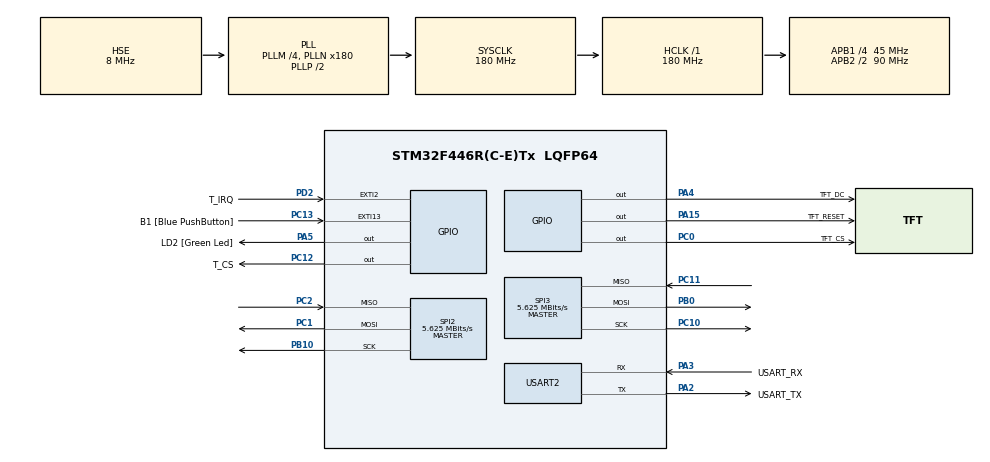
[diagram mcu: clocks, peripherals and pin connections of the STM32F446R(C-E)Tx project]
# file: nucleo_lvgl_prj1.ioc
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Dma.Request0=SPI2_TX
Dma.SPI2_TX.0.Direction=DMA_MEMORY_TO_PERIPH
Dma.SPI2_TX.0.FIFOMode=DMA_FIFOMODE_DISABLE
Dma.SPI2_TX.0.Instance=DMA1_Stream4
Dma.SPI2_TX.0.MemDataAlignment=DMA_MDATAALIGN_BYTE
Dma.SPI2_TX.0.MemInc=DMA_MINC_ENABLE
Dma.SPI2_TX.0.Mode=DMA_NORMAL
Dma.SPI2_TX.0.PeriphDataAlignment=DMA_PDATAALIGN_BYTE
Dma.SPI2_TX.0.PeriphInc=DMA_PINC_DISABLE
Dma.SPI2_TX.0.Priority=DMA_PRIORITY_LOW
FREERTOS.Tasks01=defaultTask,24,128,StartDefaultTask,Default,NULL,Dynamic,NULL,NULL
FREERTOS.configENABLE_FPU=1
FREERTOS.configTOTAL_HEAP_SIZE=32768
Mcu.Family=STM32F4
Mcu.Name=STM32F446R(C-E)Tx
Mcu.Package=LQFP64
NVIC.DMA1_Stream4_IRQn=true\:5\:0\:false\:false\:true\:true\:false\:true\:true
NVIC.EXTI15_10_IRQn=true\:5\:0\:false\:false\:true\:true\:true\:true\:true
NVIC.EXTI2_IRQn=true\:5\:0\:false\:false\:true\:true\:true\:true\:true
NVIC.PriorityGroup=NVIC_PRIORITYGROUP_4
NVIC.SPI2_IRQn=true\:5\:0\:false\:false\:true\:true\:true\:true\:true
NVIC.SPI3_IRQn=true\:5\:0\:false\:false\:true\:true\:true\:true\:true
NVIC.TIM6_DAC_IRQn=true\:15\:0\:false\:false\:true\:false\:false\:true\:true
NVIC.TimeBase=TIM6_DAC_IRQn
NVIC.TimeBaseIP=TIM6
PA13.GPIO_Label=TMS
PA13.Mode=Serial_Wire
PA13.Signal=SYS_JTMS-SWDIO
PA14.GPIO_Label=TCK
PA14.Mode=Serial_Wire
PA14.Signal=SYS_JTCK-SWCLK
PA15.GPIO_Label=TFT_RESET
PA15.Signal=GPIO_Output
PA2.GPIO_Label=USART_TX
PA2.Mode=Asynchronous
PA2.Signal=USART2_TX
PA3.GPIO_Label=USART_RX
PA3.Mode=Asynchronous
PA3.Signal=USART2_RX
PA4.GPIO_Label=TFT_DC
PA4.Signal=GPIO_Output
PA5.GPIO_Label=LD2 [Green Led]
PA5.Signal=GPIO_Output
PB0.Mode=Full_Duplex_Master
PB0.Signal=SPI3_MOSI
PB10.Mode=Full_Duplex_Master
PB10.Signal=SPI2_SCK
PB3.GPIO_Label=SWO
PB3.Signal=SYS_JTDO-SWO
PC0.GPIO_Label=TFT_CS
PC0.GPIO_Speed=GPIO_SPEED_FREQ_HIGH
PC0.Signal=GPIO_Output
PC1.Mode=Full_Duplex_Master
PC1.Signal=SPI2_MOSI
PC10.Mode=Full_Duplex_Master
PC10.Signal=SPI3_SCK
PC11.Mode=Full_Duplex_Master
PC11.Signal=SPI3_MISO
PC12.GPIO_Label=T_CS
PC12.GPIO_Speed=GPIO_SPEED_FREQ_HIGH
PC12.Signal=GPIO_Output
PC13.GPIO_Label=B1 [Blue PushButton]
PC13.GPIO_ModeDefaultEXTI=GPIO_MODE_IT_FALLING
PC13.Signal=GPXTI13
PC14-OSC32_IN.Mode=LSE-External-Oscillator
PC14-OSC32_IN.Signal=RCC_OSC32_IN
PC15-OSC32_OUT.Mode=LSE-External-Oscillator
PC15-OSC32_OUT.Signal=RCC_OSC32_OUT
PC2.Mode=Full_Duplex_Master
PC2.Signal=SPI2_MISO
PD2.GPIO_Label=T_IRQ
PD2.GPIO_ModeDefaultEXTI=GPIO_MODE_IT_FALLING
PD2.GPIO_PuPd=GPIO_PULLUP
PD2.Signal=GPXTI2
PH0-OSC_IN.Mode=HSE-External-Oscillator
PH0-OSC_IN.Signal=RCC_OSC_IN
PH1-OSC_OUT.Mode=HSE-External-Oscillator
PH1-OSC_OUT.Signal=RCC_OSC_OUT
ProjectManager.HeapSize=0x200
ProjectManager.StackSize=0x400
ProjectManager.TargetToolchain=Makefile
RCC.48MHZClocksFreq_Value=84000000
RCC.AHBFreq_Value=180000000
RCC.APB1CLKDivider=RCC_HCLK_DIV4
RCC.APB1Freq_Value=45000000
RCC.APB1TimFreq_Value=90000000
RCC.APB2CLKDivider=RCC_HCLK_DIV2
RCC.APB2Freq_Value=90000000
RCC.APB2TimFreq_Value=180000000
RCC.CortexFreq_Value=180000000
RCC.FLatency-AdvancedSettings=FLASH_LATENCY_5
RCC.HCLKFreq_Value=180000000
RCC.HSE_VALUE=8000000
RCC.HSI_VALUE=16000000
RCC.PLLM=4
RCC.PLLN=180
RCC.PLLSourceVirtual=RCC_PLLSOURCE_HSE
RCC.SYSCLKFreq_VALUE=180000000
RCC.SYSCLKSource=RCC_SYSCLKSOURCE_PLLCLK
RCC.USBFreq_Value=180000000
RCC.VCOOutputFreq_Value=360000000
SPI2.BaudRatePrescaler=SPI_BAUDRATEPRESCALER_8
SPI2.CalculateBaudRate=5.625 MBits/s
SPI2.Direction=SPI_DIRECTION_2LINES
SPI2.Mode=SPI_MODE_MASTER
SPI2.VirtualType=VM_MASTER
SPI3.BaudRatePrescaler=SPI_BAUDRATEPRESCALER_8
SPI3.CalculateBaudRate=5.625 MBits/s
SPI3.Direction=SPI_DIRECTION_2LINES
SPI3.Mode=SPI_MODE_MASTER
SPI3.VirtualType=VM_MASTER
USART2.VirtualMode=VM_ASYNC
VP_FREERTOS_VS_CMSIS_V2.Mode=CMSIS_V2
VP_SYS_VS_tim6.Mode=TIM6
board=NUCLEO-F446RE

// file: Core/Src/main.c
/* USER CODE BEGIN Header */
/**
  ******************************************************************************
  * @file           : main.c
  * @brief          : Main program body
  ******************************************************************************
  * @attention
  *
  * Copyright (c) 2026 STMicroelectronics.
  * All rights reserved.
  *
  * This software is licensed under terms that can be found in the LICENSE file
  * in the root directory of this software component.
  * If no LICENSE file comes with this software, it is provided AS-IS.
  *
  ******************************************************************************
  */
/* USER CODE END Header */
#include "main.h"
#include "cmsis_os.h"
#include "dma.h"
#include "spi.h"
#include "usart.h"
#include "gpio.h"

/* USER CODE BEGIN Includes */
#include <stdio.h>
#include <sys/types.h>

#include "ui/ui.h"
#include "lvgl.h"
#include "LCDController.h"
#include "TouchController.h"
#include "board_drivers.h"

/* USER CODE END Includes */

/* USER CODE BEGIN PD */
void load_gui(void);

/* USER CODE END PD */

/* USER CODE BEGIN PV */
lv_obj_t * time_label = NULL;
lv_obj_t * date_label = NULL;

u_int64_t press_counter = 0;
/* USER CODE END PV */

void SystemClock_Config(void);
void MX_FREERTOS_Init(void);

int main(void)
{

  /* MCU Configuration--------------------------------------------------------*/

  /* Reset of all peripherals, Initializes the Flash interface and the Systick. */
  HAL_Init();

  /* Configure the system clock */
  SystemClock_Config();

  /* Initialize all configured peripherals */
  MX_GPIO_Init();
  MX_DMA_Init();
  MX_USART2_UART_Init();
  MX_SPI2_Init();
  MX_SPI3_Init();
  /* USER CODE BEGIN 2 */

  HAL_UART_Transmit(&huart2, (uint8_t*)"hello\r\n", 7, 1000);

  for (int i = 0; i < 5; i++)
  {
      HAL_UART_Transmit(&huart2, (uint8_t*)"delay\r\n", 7, 1000);
      HAL_Delay(100);
  }

  lv_init();
  lv_tick_set_cb(HAL_GetTick);

  HAL_Delay(100);
  HAL_UART_Transmit(&huart2, (uint8_t*)"delay2\r\n", 8, 1000);

  lv_port_disp_init(Board_GetDisplayConfig());
  HAL_UART_Transmit(&huart2, (uint8_t*)"delay3\r\n", 8, 1000);

  TouchController_Init(Board_GetTouchConfig());

  //  load_gui();   // your application UI

  // start the UI generated by eez-studio
  ui_init();

  /* USER CODE END 2 */

  /* Init scheduler */
  osKernelInitialize();  /* Call init function for freertos objects (in cmsis_os2.c) */
  MX_FREERTOS_Init();

  /* Start scheduler */
  osKernelStart();

  /* We should never get here as control is now taken by the scheduler */

  /* Infinite loop */
  /* USER CODE BEGIN WHILE */
  u_int64_t cnt = 0;
  while (1)
  {

    /*  !!!  This will be executed only disabling the freertos scheduler, for debug purpose !!!*/

//     lv_lock();
    // ui_tick();
//    lv_unlock();

    TouchController_Poll();

    cnt++;
    if (cnt == 1000) {
      cnt = 0;
      lv_label_set_text_fmt(time_label, "%d", HAL_GetTick());
    }

    lv_timer_handler();

    HAL_Delay(2);

    //HAL_UART_Transmit(&huart2, (uint8_t*)"tick\r\n", 8, 1000);

    /* USER CODE END WHILE */

  }
}

void SystemClock_Config(void)
{
  RCC_OscInitTypeDef RCC_OscInitStruct = {0};
  RCC_ClkInitTypeDef RCC_ClkInitStruct = {0};

  /** Configure the main internal regulator output voltage
  */
  __HAL_RCC_PWR_CLK_ENABLE();
  __HAL_PWR_VOLTAGESCALING_CONFIG(PWR_REGULATOR_VOLTAGE_SCALE1);

  /** Initializes the RCC Oscillators according to the specified parameters
  * in the RCC_OscInitTypeDef structure.
  */
  RCC_OscInitStruct.OscillatorType = RCC_OSCILLATORTYPE_HSE;
  RCC_OscInitStruct.HSEState = RCC_HSE_ON;
  RCC_OscInitStruct.PLL.PLLState = RCC_PLL_ON;
  RCC_OscInitStruct.PLL.PLLSource = RCC_PLLSOURCE_HSE;
  RCC_OscInitStruct.PLL.PLLM = 4;
  RCC_OscInitStruct.PLL.PLLN = 180;
  RCC_OscInitStruct.PLL.PLLP = RCC_PLLP_DIV2;
  RCC_OscInitStruct.PLL.PLLQ = 2;
  RCC_OscInitStruct.PLL.PLLR = 2;
  if (HAL_RCC_OscConfig(&RCC_OscInitStruct) != HAL_OK)
  {
    Error_Handler();
  }

  /** Activate the Over-Drive mode
  */
  if (HAL_PWREx_EnableOverDrive() != HAL_OK)
  {
    Error_Handler();
  }

  /** Initializes the CPU, AHB and APB buses clocks
  */
  RCC_ClkInitStruct.ClockType = RCC_CLOCKTYPE_HCLK|RCC_CLOCKTYPE_SYSCLK
                              |RCC_CLOCKTYPE_PCLK1|RCC_CLOCKTYPE_PCLK2;
  RCC_ClkInitStruct.SYSCLKSource = RCC_SYSCLKSOURCE_PLLCLK;
  RCC_ClkInitStruct.AHBCLKDivider = RCC_SYSCLK_DIV1;
  RCC_ClkInitStruct.APB1CLKDivider = RCC_HCLK_DIV4;
  RCC_ClkInitStruct.APB2CLKDivider = RCC_HCLK_DIV2;

  if (HAL_RCC_ClockConfig(&RCC_ClkInitStruct, FLASH_LATENCY_5) != HAL_OK)
  {
    Error_Handler();
  }
}

/* USER CODE BEGIN 4 */

static void btn_event_cb(lv_event_t * e)
{
    if(lv_event_get_code(e) == LV_EVENT_CLICKED) {
      press_counter++;
      lv_label_set_text_fmt(date_label, "Clicked %d", press_counter);

    }
}

void load_gui(void)
{
    /* Create a screen */
    lv_obj_t * scr = lv_scr_act();

    lv_obj_set_style_bg_color(lv_scr_act(), lv_color_hex(0xffffff), LV_PART_MAIN);

    /* ------------------ Custom Styles ------------------ */

    // Label Style
    static lv_style_t style;
    lv_style_init(&style);
    lv_style_set_text_font(&style, &lv_font_montserrat_24); // <--- you have to enable other font sizes in menuconfig

    // Button Style
    static lv_style_t style_btn;
    lv_style_init(&style_btn);

    lv_style_set_bg_color(&style_btn, lv_color_hex(0x00ff00));
    // lv_style_set_bg_grad_color(&style_btn, lv_color_hex(0x2980b9));
    // lv_style_set_bg_grad_dir(&style_btn, LV_GRAD_DIR_VER);

    lv_style_set_radius(&style_btn, 10);                         // bordi arrotondati
    lv_style_set_border_width(&style_btn, 2);
    lv_style_set_border_color(&style_btn, lv_color_hex(0x1f618d));

    lv_style_set_pad_all(&style_btn, 10);

    /* Button Pressed Style */
    static lv_style_t style_btn_pressed;
    lv_style_init(&style_btn_pressed);

    lv_style_set_bg_color(&style_btn_pressed, lv_color_hex(0x1f618d));
    lv_style_set_transform_width(&style_btn_pressed, -2);
    lv_style_set_transform_height(&style_btn_pressed, -2);

    /* Create a label on the screen */
    lv_obj_t * label = lv_label_create(scr);
    lv_label_set_text(label, "Hello, LVGL!");
    lv_obj_align(label, LV_ALIGN_CENTER, 0, -60);

    /* Create date label */
    date_label = lv_label_create(scr);
    lv_label_set_text(date_label, "STM32F446 MCU");
    lv_obj_align(date_label, LV_ALIGN_CENTER, 0, -20);

    /* Create time label */
    time_label = lv_label_create(scr);
    lv_label_set_text(time_label, "0");
    lv_obj_align(time_label, LV_ALIGN_CENTER, 0, 20);
    lv_obj_add_style(time_label, &style, 0);

    /* Create button */
    lv_obj_t * btn = lv_btn_create(scr);
    lv_obj_align(btn, LV_ALIGN_CENTER, 0, 80);

    lv_obj_add_style(btn, &style_btn, 0);
    lv_obj_add_style(btn, &style_btn_pressed, LV_STATE_PRESSED);

    // Button callback
    lv_obj_add_event_cb(btn, btn_event_cb, LV_EVENT_ALL, NULL);

    /* Button Label */
    lv_obj_t * btn_label = lv_label_create(btn);
    lv_label_set_text(btn_label, "Click");
    lv_obj_center(btn_label);
    lv_obj_add_style(btn_label, &style, 0);

}

int __io_putchar(int ch)
{
    HAL_UART_Transmit(&huart2, (uint8_t *)&ch, 1, HAL_MAX_DELAY);
    return ch;
}
/* USER CODE END 4 */

void HAL_TIM_PeriodElapsedCallback(TIM_HandleTypeDef *htim)
{
  if (htim->Instance == TIM6)
  {
    HAL_IncTick();
  }
}

void Error_Handler(void)
{
  __disable_irq();
  while (1)
  {
  }
}

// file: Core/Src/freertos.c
/* USER CODE BEGIN Header */
/**
  ******************************************************************************
  * File Name          : freertos.c
  * Description        : Code for freertos applications
  ******************************************************************************
  * @attention
  *
  * Copyright (c) 2026 STMicroelectronics.
  * All rights reserved.
  *
  * This software is licensed under terms that can be found in the LICENSE file
  * in the root directory of this software component.
  * If no LICENSE file comes with this software, it is provided AS-IS.
  *
  ******************************************************************************
  */
/* USER CODE END Header */

#include "FreeRTOS.h"
#include "task.h"
#include "main.h"
#include "cmsis_os.h"

/* USER CODE BEGIN Includes */
#include "ui/screens.h"
#include "ui/ui.h"
#include "lvgl.h"
#include "TouchController.h"
#include "usart.h"
#include <sys/types.h>
// then put this into ui.h header file to include here
extern lv_obj_t *time_label;

/* USER CODE END Includes */

/* USER CODE BEGIN Variables */
u_int64_t cnt = 0;

osTimerId_t lvglTimerHandle;
const osTimerAttr_t lvglTimer_attributes = { .name = "lvglTimer" };

/* USER CODE END Variables */
/* Definitions for defaultTask */
osThreadId_t defaultTaskHandle;
const osThreadAttr_t defaultTask_attributes = {
  .name = "defaultTask",
  .stack_size = 128 * 4,
  .priority = (osPriority_t) osPriorityNormal,
};

/* USER CODE BEGIN FunctionPrototypes */
void lvglTimerCallback(void *argument);
void startLvglTask(void *argument);

osStatus_t osThreadDetach(osThreadId_t thread_id);

// Stub for missing CMSIS-RTOS2 function not implemented by ST's FreeRTOS port

/* USER CODE END FunctionPrototypes */

void StartDefaultTask(void *argument);

void MX_FREERTOS_Init(void); /* (MISRA C 2004 rule 8.1) */

void MX_FREERTOS_Init(void) {
  /* USER CODE BEGIN Init */
  lvglTimerHandle = osTimerNew(lvglTimerCallback, osTimerPeriodic, NULL, &lvglTimer_attributes);

  osThreadId_t lvglTaskHandle;
  const osThreadAttr_t lvglTask_attributes = {
    .name       = "lvglTask",
    .stack_size = 2048 * 4,           // 8 KB — increase if you see stack overflow
    .priority   = osPriorityLow,
  };

  /* USER CODE END Init */

  /* USER CODE BEGIN RTOS_TIMERS */
  osTimerStart(lvglTimerHandle, 10);

  /* USER CODE END RTOS_TIMERS */

  /* USER CODE BEGIN RTOS_QUEUES */
  /* add queues, ... */
  // sharedQueueHandle = osMessageQueueNew (16, sizeof(uint32_t), &sharedQueue_attributes);

  /* USER CODE END RTOS_QUEUES */

  /* Create the thread(s) */
  /* creation of defaultTask */
  defaultTaskHandle = osThreadNew(StartDefaultTask, NULL, &defaultTask_attributes);

  /* USER CODE BEGIN RTOS_THREADS */
  lvglTaskHandle = osThreadNew(startLvglTask, NULL, &lvglTask_attributes);

  /* USER CODE END RTOS_THREADS */

}

void StartDefaultTask(void *argument)
{
  for(;;)
  {
    osDelay(1);
  }
}

/* USER CODE BEGIN Application */

void lvglTimerCallback(void *argument) {
    // printf("STM32 LVGL tick");
    // lv_tick_inc(1);

    // HAL_UART_Transmit(&huart2, (uint8_t*)"thick\r\n", 8, 1000);

    cnt++;
    if (cnt >= 100) {
      cnt = 0;
      // lv_lock();

      //lv_label_set_text_fmt(objects.label_test, "%d", HAL_GetTick());

      // lv_label_set_text_fmt(time_label, "%d", HAL_GetTick());
      //  lv_unlock();

      HAL_UART_Transmit(&huart2, (uint8_t*)"thick2\r\n", 10, 1000);
    }

}

void startLvglTask(void *argument) {
    for (;;) {
        osDelay(5);
        TouchController_Poll();

        lv_timer_handler();

        // lv_lock();
        ui_tick();
        // lv_unlock();

         HAL_UART_Transmit(&huart2, (uint8_t*)"LVGL task\r\n", 20, 1000);
    }
}

// osThreadDetach is not implemented in ST's FreeRTOS CMSIS-RTOS2 wrapper.
// LVGL calls it in lv_thread_delete() — provide a no-op stub.
osStatus_t osThreadDetach(osThreadId_t thread_id)
{
    (void)thread_id;
    return osOK;
}

/* USER CODE END Application */
